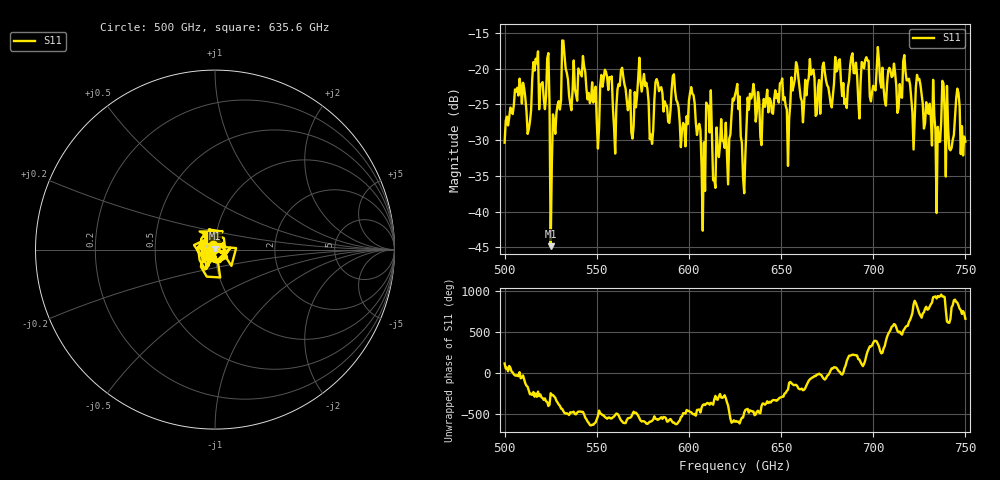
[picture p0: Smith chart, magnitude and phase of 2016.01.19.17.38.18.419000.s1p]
!Created with skrf (http://scikit-rf.org).
# GHz S RI R 50.0
!freq ReS11 ImS11
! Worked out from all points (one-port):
!   401 points, 500 GHz to 750 GHz, reference 50 ohm
!   lowest |S11| = -44.9 dB at 525 GHz (marker M1), VSWR 1.01, Z = 49.8 + j0.53 ohm
!   |S11| at or under -10 dB: start of sweep to end of sweep
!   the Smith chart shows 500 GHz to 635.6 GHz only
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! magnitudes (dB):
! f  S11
! 500 GHz  -30.4
! 507.5 GHz  -23.8
! 513.1 GHz  -28.4
! 516.9 GHz  -18.6
! 523.1 GHz  -18.6
! 525 GHz  -44.9
! 531.2 GHz  -16.0
! 550 GHz  -27.4
! 562.5 GHz  -22.4
! 570 GHz  -28.0
! 576.2 GHz  -22.4
! 579.4 GHz  -29.2
! 583.1 GHz  -22.0
! 593.8 GHz  -24.7
! 596.9 GHz  -27.6
! 601.9 GHz  -23.5
! 607.5 GHz  -42.7
! 610.6 GHz  -25.3
! 614.4 GHz  -36.7
! 625 GHz  -23.7
! 629.4 GHz  -35.3
! 634.4 GHz  -23.6
! 656.2 GHz  -23.0
! 687.5 GHz  -19.5
! 718.8 GHz  -21.6
! 735 GHz  -28.1
! 745.6 GHz  -22.8
! 750 GHz  -30.2
